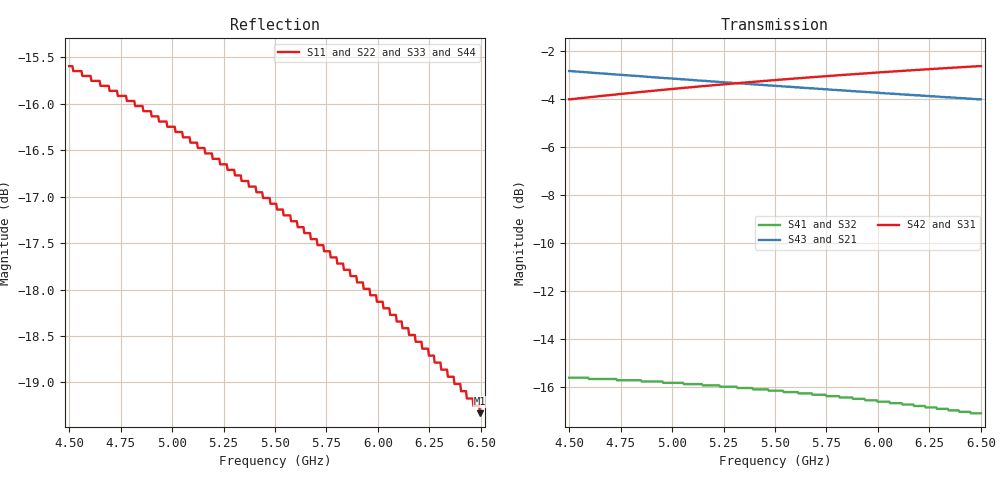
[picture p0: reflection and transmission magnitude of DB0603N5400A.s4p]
!	AVX THIN FILM OPERATION
!	0603 SIZE 3dB 90deg COUPLER P/N DB0603N5400ANTR
!	Created August 2010
!	Network Analyzer HP8720E S.07.64: Feb23, 2000 Serial No.US39172382
# MHZ S MA R 50
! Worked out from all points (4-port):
!   500 points, 4.5 GHz to 6.5 GHz, reference 50 ohm
!   strongest paths, dB at 4.5 GHz, 5.001 GHz, 5.502 GHz, 6.003 GHz, 6.5 GHz:
!     S42: -4.0, -3.6, -3.2, -2.9, -2.7
!     S31: -4.0, -3.6, -3.2, -2.9, -2.7
!     S43: -2.9, -3.2, -3.5, -3.8, -4.0
!     S21: -2.9, -3.2, -3.5, -3.8, -4.0
!     S41: -15.6, -15.8, -16.1, -16.6, -17.1
!     S32: -15.6, -15.8, -16.1, -16.6, -17.1
!   lowest |S11| = -19.3 dB at 6.496 GHz (marker M1), VSWR 1.24, Z = 40.3 - j0.378 ohm
!   |S11| at or under -10 dB: start of sweep to end of sweep
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4500  0.166 -169.0  0.72 -53.4  0.629 33.5  0.166 -23.2
      0.72 -53.4  0.166 -169.0  0.166 -23.2  0.629 33.5
      0.629 33.5  0.166 -23.2  0.166 -169.0  0.72 -53.4
      0.166 -23.2  0.629 33.5  0.72 -53.4  0.166 -169.0
5005.01  0.154 -172.9  0.694 -57.6  0.661 29.8  0.162 -32.1
         0.694 -57.6  0.154 -172.9  0.162 -32.1  0.661 29.8
         0.661 29.8  0.162 -32.1  0.154 -172.9  0.694 -57.6
         0.162 -32.1  0.661 29.8  0.694 -57.6  0.154 -172.9
5465.932  0.141 -175.5  0.672 -61.3  0.688 26.5  0.157 -39.8
          0.672 -61.3  0.141 -175.5  0.157 -39.8  0.688 26.5
          0.688 26.5  0.157 -39.8  0.141 -175.5  0.672 -61.3
          0.157 -39.8  0.688 26.5  0.672 -61.3  0.141 -175.5
5866.733  0.128 -177.0  0.655 -64.4  0.708 23.8  0.151 -46.4
          0.655 -64.4  0.128 -177.0  0.151 -46.4  0.708 23.8
          0.708 23.8  0.151 -46.4  0.128 -177.0  0.655 -64.4
          0.151 -46.4  0.708 23.8  0.655 -64.4  0.128 -177.0
6079.158  0.122 -177.5  0.646 -66.1  0.719 22.4  0.147 -49.9
          0.646 -66.1  0.122 -177.5  0.147 -49.9  0.719 22.4
          0.719 22.4  0.147 -49.9  0.122 -177.5  0.646 -66.1
          0.147 -49.9  0.719 22.4  0.646 -66.1  0.122 -177.5
6495.992  0.108 -177.5  0.629 -69.2  0.737 19.7  0.14 -56.6
          0.629 -69.2  0.108 -177.5  0.14 -56.6  0.737 19.7
          0.737 19.7  0.14 -56.6  0.108 -177.5  0.629 -69.2
          0.14 -56.6  0.737 19.7  0.629 -69.2  0.108 -177.5
6500  0.108 -177.5  0.629 -69.2  0.737 19.7  0.14 -56.6
      0.629 -69.2  0.108 -177.5  0.14 -56.6  0.737 19.7
      0.737 19.7  0.14 -56.6  0.108 -177.5  0.629 -69.2
      0.14 -56.6  0.737 19.7  0.629 -69.2  0.108 -177.5
